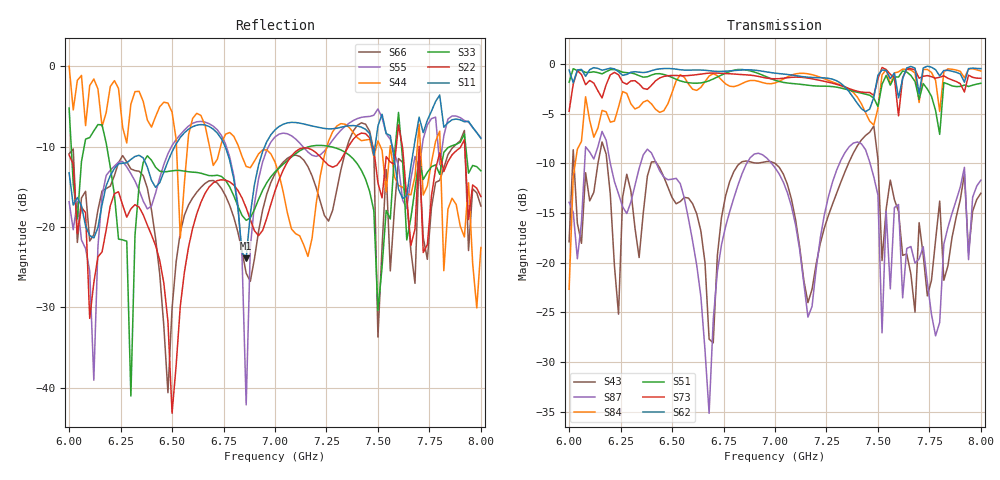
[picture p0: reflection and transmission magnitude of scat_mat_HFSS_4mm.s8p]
! Touchstone file exported from HFSS 2020.1.0
!  File:  D:/Users/rblandin/Documents/Ansoft/scatterer_in_waveguide.aedt
!  Generated:  5:08:44  janv. 16, 2025
!  Design:  HFSSDesign1
!  Project:  scatterer_in_waveguide
!  Setup:  scatmat
!  Solution:  Sweep
! Variables:
!  $height = 4mm
!  $pos_x = 100mm
!  $pos_x_1 = 28.772922mm
!  $pos_x_2 = 55.98679mm
!  $pos_x_3 = 44.27246mm
!  $pos_y = 25mm
!  $pos_y_1 = 43.348048mm
!  $pos_y_2 = 48.8323mm
!  $pos_y_3 = 236.06804mm
!  $radius = 3.1mm
# GHZ S MA R 50.000000
! Terminal data exported
! Port[1] = 1:1
! Port[2] = 1:2
! Port[3] = 1:3
! Port[4] = 1:4
! Port[5] = 2:1
! Port[6] = 2:2
! Port[7] = 2:3
! Port[8] = 2:4
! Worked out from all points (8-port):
!   101 points, 6 GHz to 8 GHz, reference per port
!   strongest paths, dB at 6 GHz, 6.5 GHz, 7 GHz, 7.5 GHz, 8 GHz:
!     S62: -0.6, -0.5, -0.9, -1.1, -0.4
!     S73: -4.7, -1.1, -1.5, -1.4, -1.4
!     S51: -1.8, -1.3, -1.6, -4.3, -1.9
!     S84: -22.7, -2.9, -1.9, -4.4, -0.7
!     S87: -13.9, -11.6, -10.4, -13.2, -11.7
!     S43: -17.9, -13.4, -10.0, -9.6, -13.0
!   lowest |S11| = -23.9 dB at 6.86 GHz (marker M1), VSWR 1.14
!   |S11| at or under -10 dB: start of sweep to 6.513 GHz; 6.758 GHz to 6.95 GHz (191.7 MHz wide, 2.8 % of centre); 7.569 GHz to 7.675 GHz (106.3 MHz wide, 1.4 % of centre)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
